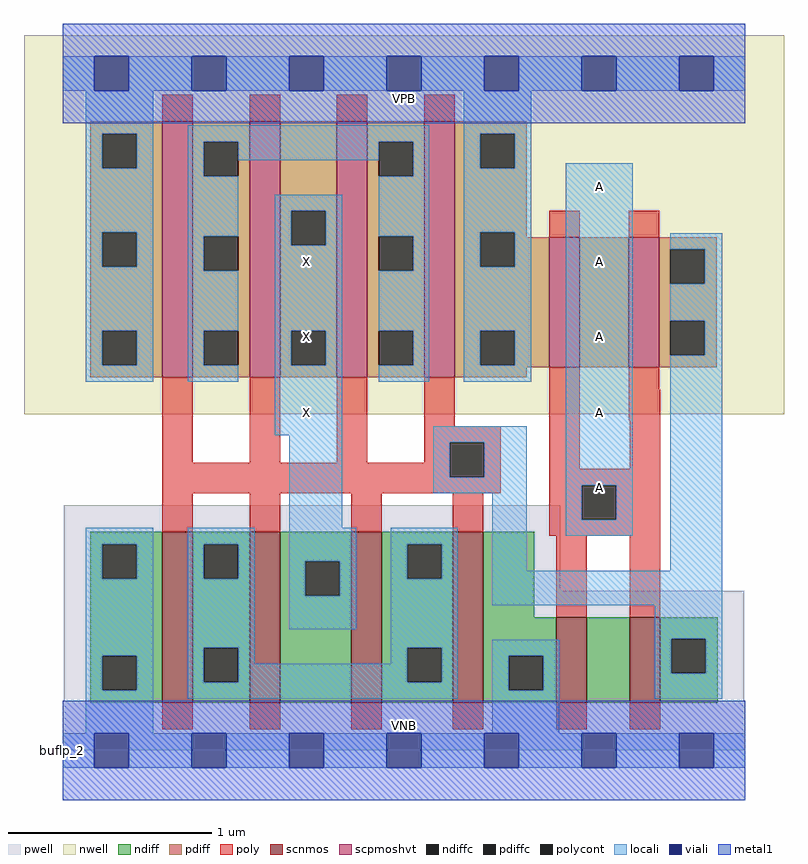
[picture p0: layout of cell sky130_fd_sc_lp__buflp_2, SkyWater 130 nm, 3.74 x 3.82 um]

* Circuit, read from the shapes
.subckt sky130_fd_sc_lp__buflp_2 A VGND VNB VPB VPWR X
XM1 n1 n2 VGND VNB sky130_fd_pr__nfet_01v8 w=0.84 l=0.15 m=2
XM2 X n2 n1 VNB sky130_fd_pr__nfet_01v8 w=0.84 l=0.15 m=2
XM3 n3 A VGND VNB sky130_fd_pr__nfet_01v8 w=0.42 l=0.15
XM4 n2 A n3 VNB sky130_fd_pr__nfet_01v8 w=0.42 l=0.15
XM5 n4 n2 VPWR VPB sky130_fd_pr__pfet_01v8_hvt w=1.26 l=0.15 m=2
XM6 X n2 n4 VPB sky130_fd_pr__pfet_01v8_hvt w=1.26 l=0.15 m=2
XM7 n5 A VPWR VPB sky130_fd_pr__pfet_01v8_hvt w=0.64 l=0.15
XM8 n2 A n5 VPB sky130_fd_pr__pfet_01v8_hvt w=0.64 l=0.15
.ends

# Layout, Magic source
magic
tech sky130A
magscale 1 2
<< nwell >>
rect -38 331 710 704
<< pwell >>
rect 1 157 490 241
rect 1 49 671 157
rect 0 0 672 49
<< scnmos >>
rect 98 47 128 215
rect 184 47 214 215
rect 284 47 314 215
rect 384 47 414 215
rect 486 47 516 131
rect 558 47 588 131
<< scpmoshvt >>
rect 98 367 128 619
rect 184 367 214 619
rect 270 367 300 619
rect 356 367 386 619
rect 479 377 509 505
rect 557 377 587 505
<< ndiff >>
rect 27 203 98 215
rect 27 169 39 203
rect 73 169 98 203
rect 27 93 98 169
rect 27 59 39 93
rect 73 59 98 93
rect 27 47 98 59
rect 128 203 184 215
rect 128 169 139 203
rect 173 169 184 203
rect 128 101 184 169
rect 128 67 139 101
rect 173 67 184 101
rect 128 47 184 67
rect 214 186 284 215
rect 214 152 239 186
rect 273 152 284 186
rect 214 47 284 152
rect 314 203 384 215
rect 314 169 339 203
rect 373 169 384 203
rect 314 101 384 169
rect 314 67 339 101
rect 373 67 384 101
rect 314 47 384 67
rect 414 131 464 215
rect 414 93 486 131
rect 414 59 439 93
rect 473 59 486 93
rect 414 47 486 59
rect 516 47 558 131
rect 588 110 645 131
rect 588 76 599 110
rect 633 76 645 110
rect 588 47 645 76
<< pdiff >>
rect 27 607 98 619
rect 27 573 39 607
rect 73 573 98 607
rect 27 510 98 573
rect 27 476 39 510
rect 73 476 98 510
rect 27 413 98 476
rect 27 379 39 413
rect 73 379 98 413
rect 27 367 98 379
rect 128 599 184 619
rect 128 565 139 599
rect 173 565 184 599
rect 128 506 184 565
rect 128 472 139 506
rect 173 472 184 506
rect 128 413 184 472
rect 128 379 139 413
rect 173 379 184 413
rect 128 367 184 379
rect 214 531 270 619
rect 214 497 225 531
rect 259 497 270 531
rect 214 413 270 497
rect 214 379 225 413
rect 259 379 270 413
rect 214 367 270 379
rect 300 599 356 619
rect 300 565 311 599
rect 345 565 356 599
rect 300 506 356 565
rect 300 472 311 506
rect 345 472 356 506
rect 300 413 356 472
rect 300 379 311 413
rect 345 379 356 413
rect 300 367 356 379
rect 386 607 457 619
rect 386 573 411 607
rect 445 573 457 607
rect 386 510 457 573
rect 386 476 411 510
rect 445 505 457 510
rect 445 476 479 505
rect 386 413 479 476
rect 386 379 411 413
rect 445 379 479 413
rect 386 377 479 379
rect 509 377 557 505
rect 587 493 644 505
rect 587 459 598 493
rect 632 459 644 493
rect 587 423 644 459
rect 587 389 598 423
rect 632 389 644 423
rect 587 377 644 389
rect 386 367 457 377
<< ndiffc >>
rect 39 169 73 203
rect 39 59 73 93
rect 139 169 173 203
rect 139 67 173 101
rect 239 152 273 186
rect 339 169 373 203
rect 339 67 373 101
rect 439 59 473 93
rect 599 76 633 110
<< pdiffc >>
rect 39 573 73 607
rect 39 476 73 510
rect 39 379 73 413
rect 139 565 173 599
rect 139 472 173 506
rect 139 379 173 413
rect 225 497 259 531
rect 225 379 259 413
rect 311 565 345 599
rect 311 472 345 506
rect 311 379 345 413
rect 411 573 445 607
rect 411 476 445 510
rect 411 379 445 413
rect 598 459 632 493
rect 598 389 632 423
<< poly >>
rect 98 619 128 645
rect 184 619 214 645
rect 270 619 300 645
rect 356 619 386 645
rect 479 505 509 531
rect 557 505 587 531
rect 98 283 128 367
rect 184 283 214 367
rect 270 283 300 367
rect 356 319 386 367
rect 356 303 431 319
rect 356 283 381 303
rect 98 269 381 283
rect 415 269 431 303
rect 98 253 431 269
rect 479 277 509 377
rect 557 355 587 377
rect 557 325 588 355
rect 558 277 588 325
rect 479 261 588 277
rect 98 215 128 253
rect 184 215 214 253
rect 284 215 314 253
rect 384 215 414 253
rect 479 227 511 261
rect 545 227 588 261
rect 479 211 588 227
rect 486 131 516 211
rect 558 131 588 211
rect 98 21 128 47
rect 184 21 214 47
rect 284 21 314 47
rect 384 21 414 47
rect 486 21 516 47
rect 558 21 588 47
<< polycont >>
rect 381 269 415 303
rect 511 227 545 261
<< locali >>
rect 0 649 31 683
rect 65 649 127 683
rect 161 649 223 683
rect 257 649 319 683
rect 353 649 415 683
rect 449 649 511 683
rect 545 649 607 683
rect 641 649 672 683
rect 23 607 89 649
rect 23 573 39 607
rect 73 573 89 607
rect 23 510 89 573
rect 23 476 39 510
rect 73 476 89 510
rect 23 413 89 476
rect 23 379 39 413
rect 73 379 89 413
rect 23 363 89 379
rect 123 599 361 615
rect 123 565 139 599
rect 173 581 311 599
rect 123 506 173 565
rect 345 565 361 599
rect 123 472 139 506
rect 123 413 173 472
rect 123 379 139 413
rect 123 363 173 379
rect 209 531 275 547
rect 209 497 225 531
rect 259 497 275 531
rect 209 413 275 497
rect 209 379 225 413
rect 259 379 275 413
rect 209 310 275 379
rect 311 506 361 565
rect 345 472 361 506
rect 311 413 361 472
rect 345 379 361 413
rect 311 363 361 379
rect 395 607 461 649
rect 395 573 411 607
rect 445 573 461 607
rect 395 510 461 573
rect 395 476 411 510
rect 445 476 461 510
rect 395 413 461 476
rect 395 379 411 413
rect 445 379 461 413
rect 395 363 461 379
rect 223 219 275 310
rect 365 303 457 319
rect 365 269 381 303
rect 415 269 457 303
rect 365 253 457 269
rect 23 203 89 219
rect 23 169 39 203
rect 73 169 89 203
rect 23 93 89 169
rect 23 59 39 93
rect 73 59 89 93
rect 23 17 89 59
rect 123 203 189 219
rect 123 169 139 203
rect 173 169 189 203
rect 123 101 189 169
rect 223 186 289 219
rect 223 152 239 186
rect 273 152 289 186
rect 223 119 289 152
rect 323 203 389 219
rect 323 169 339 203
rect 373 169 389 203
rect 123 67 139 101
rect 173 85 189 101
rect 323 101 389 169
rect 423 177 457 253
rect 495 261 561 578
rect 495 227 511 261
rect 545 227 561 261
rect 495 211 561 227
rect 598 493 649 509
rect 632 459 649 493
rect 598 423 649 459
rect 632 389 649 423
rect 598 177 649 389
rect 423 143 649 177
rect 583 110 649 143
rect 323 85 339 101
rect 173 67 339 85
rect 373 67 389 101
rect 123 51 389 67
rect 423 93 489 109
rect 423 59 439 93
rect 473 59 489 93
rect 423 17 489 59
rect 583 76 599 110
rect 633 76 649 110
rect 583 51 649 76
rect 0 -17 31 17
rect 65 -17 127 17
rect 161 -17 223 17
rect 257 -17 319 17
rect 353 -17 415 17
rect 449 -17 511 17
rect 545 -17 607 17
rect 641 -17 672 17
<< viali >>
rect 31 649 65 683
rect 127 649 161 683
rect 223 649 257 683
rect 319 649 353 683
rect 415 649 449 683
rect 511 649 545 683
rect 607 649 641 683
rect 31 -17 65 17
rect 127 -17 161 17
rect 223 -17 257 17
rect 319 -17 353 17
rect 415 -17 449 17
rect 511 -17 545 17
rect 607 -17 641 17
<< metal1 >>
rect 0 683 672 715
rect 0 649 31 683
rect 65 649 127 683
rect 161 649 223 683
rect 257 649 319 683
rect 353 649 415 683
rect 449 649 511 683
rect 545 649 607 683
rect 641 649 672 683
rect 0 617 672 649
rect 0 17 672 49
rect 0 -17 31 17
rect 65 -17 127 17
rect 161 -17 223 17
rect 257 -17 319 17
rect 353 -17 415 17
rect 449 -17 511 17
rect 545 -17 607 17
rect 641 -17 672 17
rect 0 -49 672 -17
<< labels >>
flabel pwell s 0 0 672 49 0 FreeSans 200 0 0 0 VNB
port 3 nsew ground bidirectional
flabel nwell s 0 617 672 666 0 FreeSans 200 0 0 0 VPB
port 4 nsew power bidirectional
rlabel comment s 0 0 0 0 4 buflp_2
flabel metal1 s 0 617 672 666 0 FreeSans 340 0 0 0 VPWR
port 5 nsew power bidirectional
flabel metal1 s 0 0 672 49 0 FreeSans 340 0 0 0 VGND
port 2 nsew ground bidirectional
flabel locali s 223 316 257 350 0 FreeSans 340 0 0 0 X
port 6 nsew signal output
flabel locali s 223 390 257 424 0 FreeSans 340 0 0 0 X
port 6 nsew signal output
flabel locali s 223 464 257 498 0 FreeSans 340 0 0 0 X
port 6 nsew signal output
flabel locali s 511 242 545 276 0 FreeSans 340 0 0 0 A
port 1 nsew signal input
flabel locali s 511 316 545 350 0 FreeSans 340 0 0 0 A
port 1 nsew signal input
flabel locali s 511 390 545 424 0 FreeSans 340 0 0 0 A
port 1 nsew signal input
flabel locali s 511 464 545 498 0 FreeSans 340 0 0 0 A
port 1 nsew signal input
flabel locali s 511 538 545 572 0 FreeSans 340 0 0 0 A
port 1 nsew signal input
<< properties >>
string LEFsite unit
string LEFclass CORE
string FIXED_BBOX 0 0 672 666
string GDS_FILE $PDKPATH/libs.ref/sky130_fd_sc_lp/gds/sky130_fd_sc_lp.gds
string LEFsymmetry X Y R90
string GDS_END 6968572
string GDS_START 6962350
<< end >>
